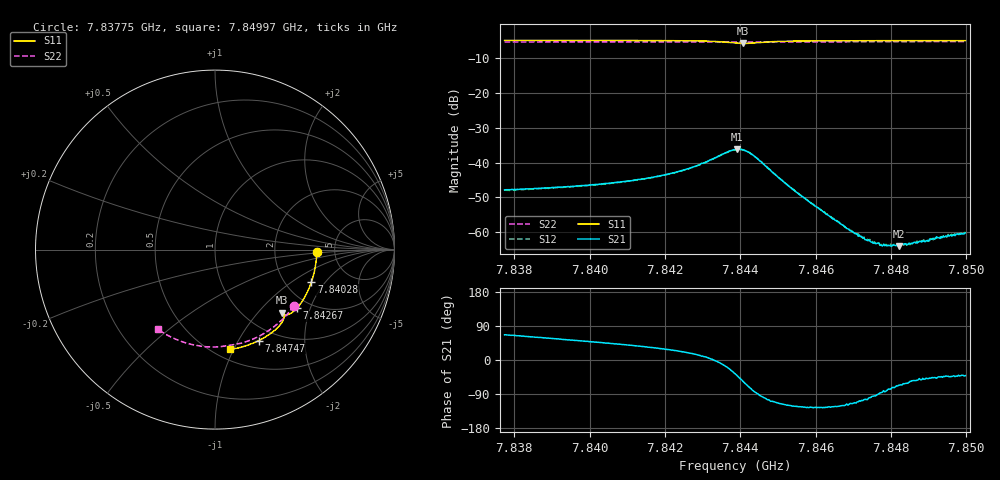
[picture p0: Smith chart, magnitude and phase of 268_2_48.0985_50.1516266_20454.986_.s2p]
#  HZ  S  RI  R  50.00
! Rohde & Schwarz Vector Network Analyzer
! Rohde-Schwarz,ZNB20-2Port,1311601062101988,3.16
! Created: UTC 12/23/2023, 4:01:28 AM
! freq[Hz]  re:S11  im:S11  re:S21  im:S21  re:S12  im:S12  re:S22  im:S22
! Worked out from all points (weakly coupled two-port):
!   401 points, 7.83775 GHz to 7.84997 GHz, reference 50 ohm
!   highest |S21| = -36.19 dB at 7.84392 GHz (marker M1); lowest = -64.0 dB at 7.8482 GHz (marker M2)
!   lowest |S11| = -5.8 dB at 7.84407 GHz (marker M3), VSWR 3.11, Z = 71.4 - j68.2 ohm
!   |S11| at or under -10 dB: nowhere
!   |S22| runs from -5.4 to -5.3 dB; largest |S21 - S12| = 0.00032
!   S11 on the Smith chart (normalised r, x): 7.83775 GHz: 3.61, -0.14; 7.84028 GHz: 2.75, -1.46; 7.84267 GHz: 1.70, -1.63; 7.84747 GHz: 0.82, -1.22; 7.84997 GHz: 0.59, -0.97
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7.837745e9  0.5663 -0.0136  0.00161 0.00369  0.00162 0.00365  0.4394 -0.3137
7.839794e9  0.5473 -0.1487  0.00298 0.0036  0.00295 0.00354  0.3419 -0.4189
7.840283e9  0.5375 -0.1803  0.00338 0.00353  0.00335 0.0035  0.3147 -0.4398
7.841842e9  0.4924 -0.2776  0.00549 0.00326  0.00543 0.00323  0.2201 -0.4945
7.842667e9  0.4567 -0.3264  0.00793 0.00258  0.0079 0.00256  0.1659 -0.5152
7.843401e9  0.4097 -0.3615  0.0122 -0.00105  0.012 -0.000917  0.1157 -0.528
7.84386e9  0.3766 -0.3596  0.0123 -0.00903  0.0123 -0.00891  0.0849 -0.5325
7.843921e9  0.3747 -0.3572  0.0115 -0.0103  0.0116 -0.0101  0.0814 -0.5329
7.844074e9  0.374 -0.3518  0.00836 -0.0127  0.00839 -0.0125  0.0717 -0.534
7.844379e9  0.3834 -0.3563  0.00127 -0.0122  0.00146 -0.0121  0.0519 -0.5376
7.845327e9  0.3631 -0.4191  -0.00221 -0.0038  -0.00224 -0.0038  -0.0142 -0.5429
7.845908e9  0.3335 -0.4492  -0.00147 -0.00208  -0.00148 -0.00207  -0.0552 -0.5408
7.846764e9  0.2852 -0.4842  -0.000616 -0.00105  -0.000595 -0.00104  -0.1148 -0.5319
7.84707e9  0.2671 -0.4949  -0.000382 -0.000869  -0.000338 -0.00089  -0.1358 -0.5272
7.847467e9  0.2431 -0.5074  -0.000108 -0.000716  -9.16e-05 -0.000736  -0.1626 -0.5198
7.847773e9  0.2245 -0.5161  5.53e-05 -0.000627  5.26e-05 -0.000677  -0.1831 -0.5132
7.847957e9  0.213 -0.521  0.00015 -0.000627  0.000112 -0.000628  -0.1952 -0.5087
7.848201e9  0.1978 -0.5271  0.000246 -0.000578  0.000256 -0.000628  -0.2112 -0.5026
7.848354e9  0.1883 -0.5305  0.00031 -0.000599  0.000327 -0.000573  -0.2211 -0.4982
7.848965e9  0.149 -0.5427  0.000498 -0.000575  0.000492 -0.000562  -0.2597 -0.4795
7.849241e9  0.1312 -0.5473  0.000581 -0.000595  0.00059 -0.000633  -0.2766 -0.4703
7.849974e9  0.0834 -0.5563  0.000732 -0.000643  0.000751 -0.000644  -0.3197 -0.4425
